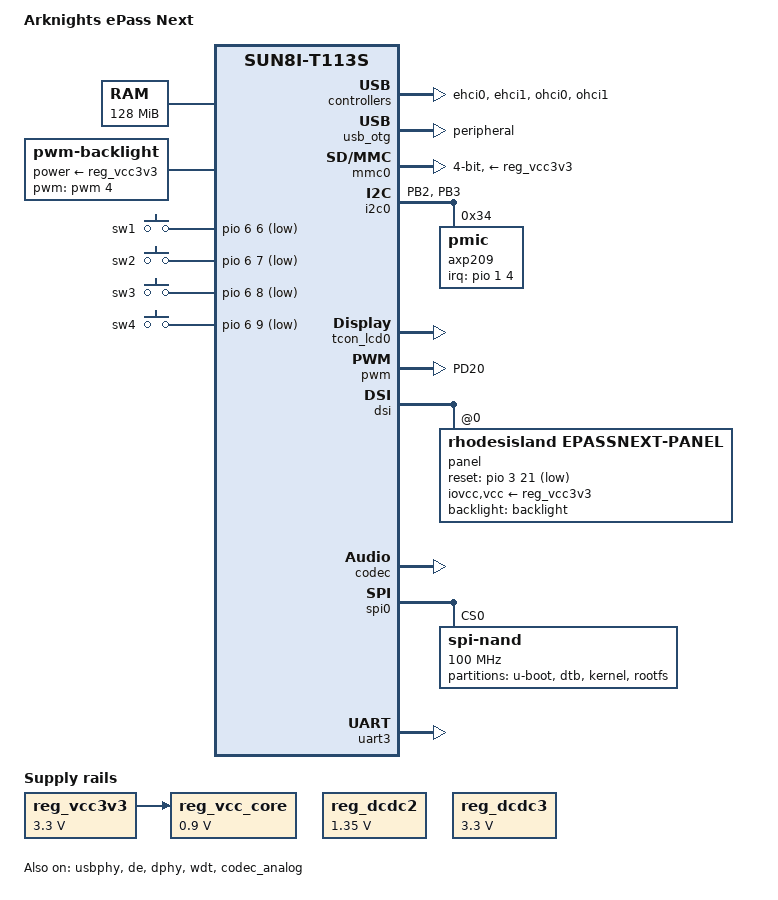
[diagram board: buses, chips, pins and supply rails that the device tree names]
// SPDX-License-Identifier: (GPL-2.0+ OR MIT)
/*
 * Copyright (C) 2025 Lukas Schmid <lukas.schmid@netcube.li>
 */

/dts-v1/;
#include "sun8i-t113s.dtsi"

#include <dt-bindings/gpio/gpio.h>
#include <dt-bindings/interrupt-controller/irq.h>
#include <dt-bindings/pwm/pwm.h>
#include <dt-bindings/input/input.h>

/ {
	model = "Arknights ePass Next";
	compatible = "rhodesisland,epass-next", "allwinner,sun8i-t113s";

	aliases {
		serial3 = &uart3; // Console UART on Card Edge
	};

	chosen {
		stdout-path = "serial3:115200n8";
	};

	memory {
	    reg = <0x40000000 0x8000000>;
	};

	reg_vcc3v3: regulator-3v3 {
		compatible = "regulator-fixed";
		regulator-name = "vcc-3v3";
		regulator-min-microvolt = <3300000>;
		regulator-max-microvolt = <3300000>;
		regulator-always-on;
	};

	reg_vcc_core: regulator-core {
		compatible = "regulator-fixed";
		regulator-name = "vcc-core";
		regulator-min-microvolt = <900000>;
		regulator-max-microvolt = <900000>;
		vin-supply = <&reg_vcc3v3>;
	};

	backlight: backlight {
		compatible = "pwm-backlight";
		pwms = <&pwm 4 50000 0>;
		brightness-levels = <0 4 8 16 32 64 128 196 220 255>;
		default-brightness-level = <9>;
		power-supply = <&reg_vcc3v3>;
	};

	/*backlight: backlight {
		compatible = "gpio-backlight";
		gpios = <&pio 3 20 GPIO_ACTIVE_HIGH>;
		default-on;
		status = "okay";
	};*/

	gpio-keys {
		compatible = "gpio-keys";

		switch-1 {
			label = "sw1";
			linux,code = <BTN_1>;
			gpios = <&pio 6 6 (GPIO_ACTIVE_LOW | GPIO_PULL_UP)>;
		};

		switch-2 {
			label = "sw2";
			linux,code = <BTN_2>;
			gpios = <&pio 6 7 (GPIO_ACTIVE_LOW | GPIO_PULL_UP)>;
		};

		switch-3 {
			label = "sw3";
			linux,code = <BTN_3>;
			gpios = <&pio 6 8 (GPIO_ACTIVE_LOW | GPIO_PULL_UP)>;
		};

		switch-4 {
			label = "sw4";
			linux,code = <BTN_4>;
			gpios = <&pio 6 9 (GPIO_ACTIVE_LOW | GPIO_PULL_UP)>;
		};
	};
};

&cpu0 {
	cpu-supply = <&reg_vcc_core>;
};

&cpu1 {
	cpu-supply = <&reg_vcc_core>;
};

&dcxo {
	clock-frequency = <24000000>;
};

&ehci0 {
	status = "okay";
};

&ehci1 {
	status = "okay";
};

&ohci0 {
	status = "okay";
};

&ohci1 {
	status = "okay";
};

&usb_otg {
	dr_mode = "peripheral";
	status = "okay";
};

&usbphy {
	status = "okay";
};

&mmc0 {
	pinctrl-0 = <&mmc0_pins>;
	pinctrl-names = "default";
	vmmc-supply = <&reg_vcc3v3>;
	broken-cd;
	disable-wp;
	bus-width = <4>;
	status = "okay";
};

&pio {
	vcc-pb-supply = <&reg_vcc3v3>;
	vcc-pc-supply = <&reg_vcc3v3>;
	vcc-pd-supply = <&reg_vcc3v3>;
	vcc-pe-supply = <&reg_vcc3v3>;
	vcc-pf-supply = <&reg_vcc3v3>;
	vcc-pg-supply = <&reg_vcc3v3>;


	/omit-if-no-ref/
	i2c0_pb_pins: i2c2-pd-pins {
		pins = "PB2", "PB3";
		function = "i2c0";
	};

	pwm_pin: pwm-pin {
		pins = "PD20";
		function = "pwm4";
	};
};

&i2c0 {
	pinctrl-0 = <&i2c0_pb_pins>;
	pinctrl-names = "default";
	status = "okay";

	axp209: pmic@34 {
		reg = <0x34>;
		interrupt-parent = <&pio>;
		interrupts = <1 4 IRQ_TYPE_EDGE_FALLING>; /* PB4 */
	};
};

#include "axp209.dtsi"

&reg_dcdc2 {
	regulator-min-microvolt = <1350000>;
	regulator-max-microvolt = <1350000>;
	regulator-always-on;
};

&reg_dcdc3 {
	regulator-min-microvolt = <3300000>;
	regulator-max-microvolt = <3300000>;
	regulator-always-on;
};

&de {
	status = "okay";
};

&tcon_lcd0 {
	status = "okay";
};

&pwm {
	pinctrl-names = "default";
	pinctrl-0 = <&pwm_pin>;
	status = "okay";
};

&dsi {
	#address-cells = <1>;
	#size-cells = <0>;

	status = "okay";

	pinctrl-0 = <&dsi_4lane_pins>;
	pinctrl-names = "default";

	panel {
	    compatible = "rhodesisland,epassnext-panel";
	    reg = <0>;
		backlight = <&backlight>;
		iovcc-supply = <&reg_vcc3v3>;
		reset-gpios = <&pio 3 21 GPIO_ACTIVE_LOW>; /* PD21 */
		rotation = <0>;
		vcc-supply = <&reg_vcc3v3>;
	};
};

&dphy {
	status = "okay";
};

&wdt {
	status = "okay";
};

&codec {
 	allwinner,audio-routing = "Headphone", "HP";
	status = "okay";
};

&codec_analog {
	status = "okay";
};

&spi0 {
	#address-cells = <1>;
	#size-cells = <0>;
	pinctrl-0 = <&spi0_pins>, <&spi0_hold_pin>, <&spi0_wp_pin>;
	pinctrl-names = "default";
	cs-gpios = <0>;
	status = "okay";

	spi-nand@0 {
		#address-cells = <1>;
		#size-cells = <1>;
		compatible = "spi-nand";
		reg = <0>;
		spi-max-frequency = <100000000>;
		status = "okay";

		partitions {
			compatible = "fixed-partitions";
			#address-cells = <1>;
			#size-cells = <1>;

			partition@0 {
				label = "u-boot";
				reg = <0x000000 0x100000>;
				read-only;
			};

			partition@1 {
				label = "dtb";
				reg = <0x100000 0x20000>;
				read-only;
			};

			partition@2 {
				label = "kernel";
				reg = <0x120000 0x500000>;
				read-only;
			};

			partition@3 {
				label = "rootfs";
				reg = <0x620000 0x79E0000>;
			};
		};
	};
};

&spi1 {
	#address-cells = <1>;
	#size-cells = <0>;
	pinctrl-0 = <&spi1_pins>;
	pinctrl-names = "default";
	cs-gpios = <0>;
	status = "disabled";
};

&uart3 {
	pinctrl-0 = <&uart3_pb_pins>;
	pinctrl-names = "default";
	status = "okay";
};
